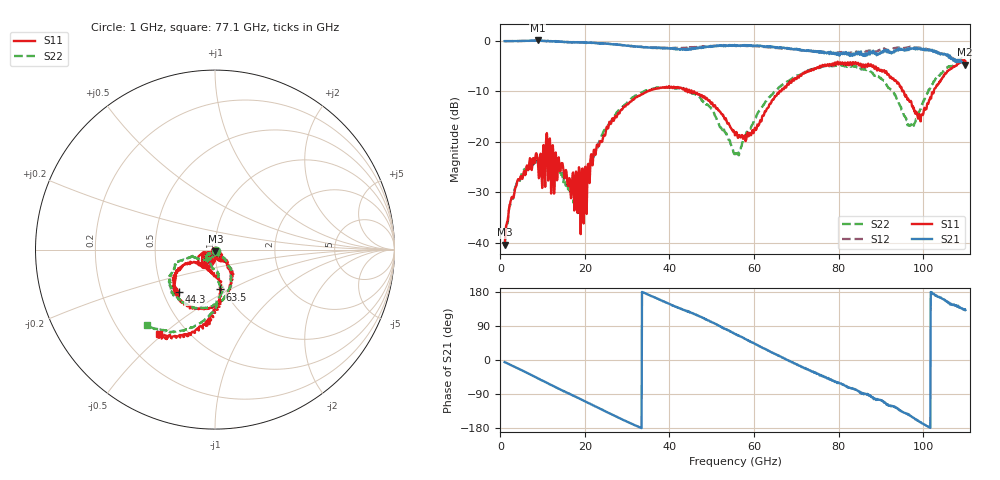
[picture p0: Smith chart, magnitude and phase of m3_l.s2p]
!Keysight Technologies,N5222B,MY58421742,A.17.00.05
!Date: Friday, September 20, 2024 13:29:41
!Correction: S11(C  2-Port  )
!S21(C  2-Port  )
!S12(C  2-Port  )
!S22(C  2-Port  )
!S2P File: Measurements: S11, S21, S12, S22:
# Hz S  dB  R 50
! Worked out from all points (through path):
!   1091 points, 1 GHz to 110 GHz, reference 50 ohm
!   highest |S21| = 0.10 dB at 8.8 GHz (marker M1); lowest = -4.7 dB at 109.8 GHz (marker M2)
!   group delay of S21, straight-line fit = 14.6 ps
!   lowest |S11| = -40.5 dB at 1 GHz (marker M3), VSWR 1.02, Z = 50.3 - j0.916 ohm
!   |S11| at or under -10 dB: start of sweep to 34.73 GHz; 45.31 GHz to 66 GHz (20.69 GHz wide, 37.2 % of centre); 95.41 GHz to 102.5 GHz (7.137 GHz wide, 7.21 % of centre)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
!   |S22| runs from -40.7 to -3.3 dB; largest |S21 - S12| = 0.23
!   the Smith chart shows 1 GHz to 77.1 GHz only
!   S11 on the Smith chart (normalised r, x): 1 GHz: 1.01, -0.02; 44.3 GHz: 0.60, -0.31; 63.5 GHz: 0.96, -0.45; 77.1 GHz: 0.35, -0.49
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1e9  -40.46 -73.8  -0.03 -5.5  -0.04 -5.3  -40.73 -72.1
3.9e9  -28.29 -107.7  -0.03 -20.8  -0.03 -20.6  -28.17 -104.7
8.8e9  -23.34 -109.3  0.10 -48.1  0.04 -47.2  -23.14 -132.3
1.13e10  -27.70 -116.3  -0.01 -61.9  -0.01 -60.9  -23.74 -142.3
1.24e10  -20.68 -121.4  -0.10 -68.2  -0.10 -67.0  -24.20 -143.2
1.92e10  -27.62 -105.6  -0.33 -104.6  -0.27 -103.1  -33.71 -67.0
2.09e10  -25.50 -46.7  -0.32 -113.7  -0.36 -112.0  -24.75 -50.9
2.48e10  -18.72 -52.9  -0.52 -135.3  -0.54 -132.9  -17.47 -51.0
3.74e10  -9.40 -103.2  -1.40 161.2  -1.34 164.5  -9.23 -109.9
4.43e10  -10.19 -130.5  -1.75 127.0  -1.49 133.2  -9.75 -138.9
5.55e10  -18.74 -140.4  -0.94 68.8  -0.99 74.3  -22.36 -127.2
5.96e10  -17.69 -98.8  -0.92 45.9  -1.02 51.2  -16.61 -81.9
6.35e10  -13.01 -82.5  -1.13 24.0  -1.25 30.3  -11.21 -86.2
7.37e10  -5.75 -112.0  -1.96 -30.6  -2.07 -21.4  -5.64 -118.9
7.71e10  -4.96 -123.3  -2.33 -46.5  -2.10 -37.4  -4.94 -132.0
8.42e10  -4.56 -145.6  -2.39 -78.6  -2.18 -69.4  -5.20 -157.7
9.19e10  -6.71 -171.8  -2.31 -120.1  -1.82 -107.4  -9.34 -178.3
9.68e10  -12.09 -172.2  -1.44 -145.9  -1.19 -135.6  -16.74 -153.6
9.92e10  -15.25 -142.6  -1.51 -163.1  -1.37 -152.1  -13.82 -111.6
1.059e11  -5.96 -115.5  -2.90 150.9  -2.98 168.2  -5.12 -120.0
1.098e11  -3.98 -127.4  -4.73 132.5  -4.14 150.9  -3.38 -133.1
1.1e11  -4.00 -130.5  -4.57 131.8  -4.17 150.3  -3.33 -134.9
